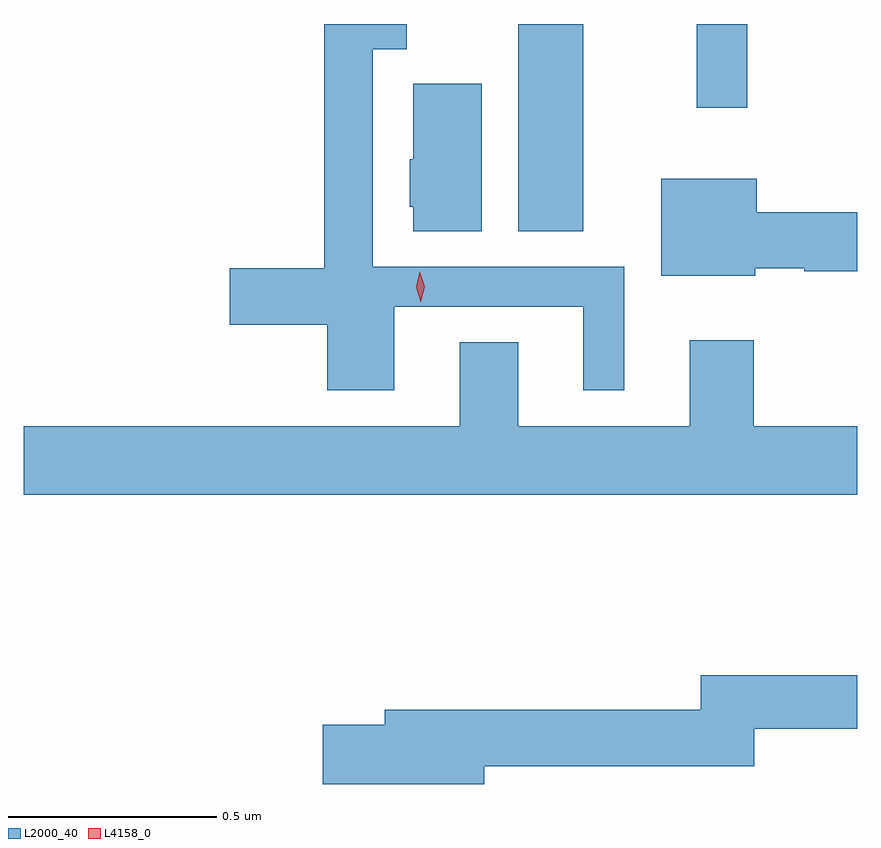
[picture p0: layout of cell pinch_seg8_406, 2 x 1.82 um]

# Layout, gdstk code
import gdstk
lib = gdstk.Library(unit=1e-6, precision=1e-09)
def R(c, l, rs):  # rectangles x0, y0, x1, y1
    for r in rs: c.add(gdstk.rectangle(r[:2], r[2:], *l))
def P(c, l, *ps):  # polygons
    for p in ps: c.add(gdstk.Polygon(p, *l))
L2000_40 = (2000, 40)
L4158_0 = (4158, 0)

pinch_seg8_406 = lib.new_cell('pinch_seg8_406')
R(pinch_seg8_406, L2000_40, [(598.262,1091.824,598.417,1092.321), (598.69,1092.12,598.811,1092.321)])
P(pinch_seg8_406, L2000_40, [(597.964,1091.643),(598.418,1091.643),(598.418,1091.442),(598.516,1091.442),(598.516,1091.739),(597.912,1091.739),(597.912,1092.261),(597.994,1092.261),(597.994,1092.321),(597.796,1092.321),(597.796,1091.735),(597.57,1091.735),(597.57,1091.6),(597.803,1091.6),(597.803,1091.442),(597.964,1091.442)],
  [(598.174,1092.178),(598.01,1092.178),(598.01,1091.997),(598.001,1091.997),(598.001,1091.883),(598.01,1091.883),(598.01,1091.824),(598.174,1091.824)],
  [(598.83,1091.735),(598.947,1091.735),(598.947,1091.728),(599.075,1091.728),(599.075,1091.87),(598.834,1091.87),(598.834,1091.95),(598.604,1091.95),(598.604,1091.717),(598.83,1091.717)],
  [(599.075,1091.356),(598.826,1091.356),(598.826,1091.563),(598.673,1091.563),(598.673,1091.356),(598.261,1091.356),(598.261,1091.558),(598.121,1091.558),(598.121,1091.356),(597.075,1091.356),(597.075,1091.192),(599.075,1091.192)],
  [(598.18,1090.54),(598.828,1090.54),(598.828,1090.63),(599.075,1090.63),(599.075,1090.759),(598.699,1090.759),(598.699,1090.676),(597.941,1090.676),(597.941,1090.64),(597.792,1090.64),(597.792,1090.498),(598.18,1090.498)])
P(pinch_seg8_406, L4158_0, [(598.028,1091.654),(598.028,1091.655),(598.017,1091.69),(598.025,1091.727),(598.025,1091.727),(598.025,1091.727),(598.037,1091.691),(598.028,1091.655)])

lib.write_gds('pinch_seg8_406.gds')
